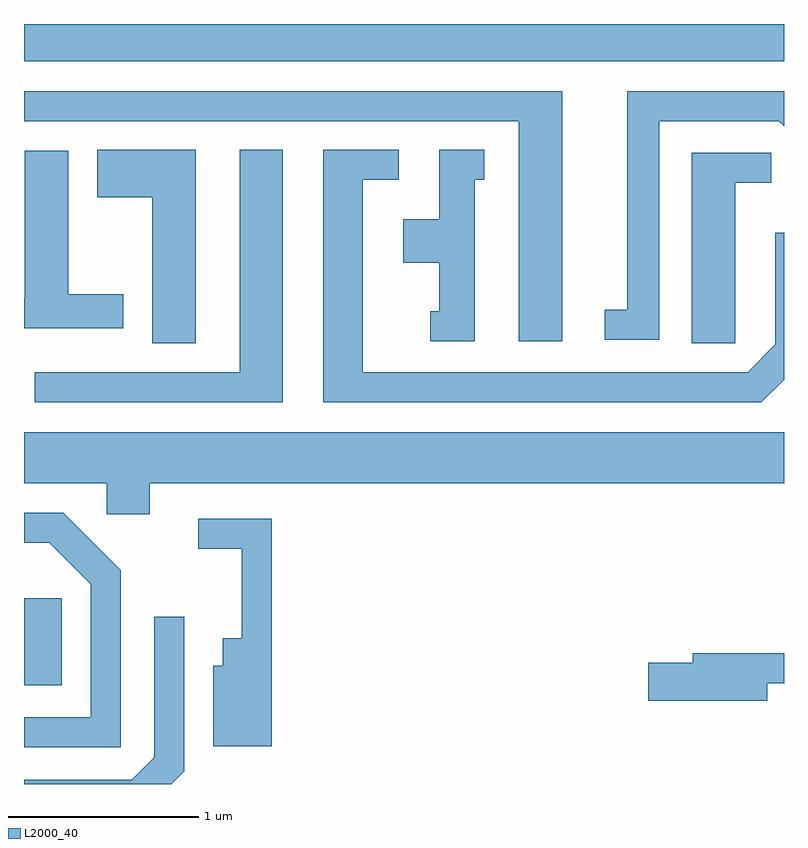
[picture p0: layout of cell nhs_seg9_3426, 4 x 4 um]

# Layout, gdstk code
import gdstk
lib = gdstk.Library(unit=1e-6, precision=1e-09)
def R(c, l, rs):  # rectangles x0, y0, x1, y1
    for r in rs: c.add(gdstk.rectangle(r[:2], r[2:], *l))
def P(c, l, *ps):  # polygons
    for p in ps: c.add(gdstk.Polygon(p, *l))
L2000_40 = (2000, 40)

nhs_seg9_3426 = lib.new_cell('nhs_seg9_3426')
R(nhs_seg9_3426, L2000_40, [(285.611,2012.951,285.809,2013.409), (285.611,2016.236,289.611,2016.432)])
P(nhs_seg9_3426, L2000_40, [(288.444,2016.079),(285.611,2016.079),(285.611,2015.921),(288.216,2015.921),(288.216,2014.761),(288.444,2014.761)],
  [(288.954,2015.921),(289.584,2015.921),(289.611,2015.894),(289.611,2016.079),(288.786,2016.079),(288.786,2014.929),(288.668,2014.929),(288.668,2014.771),(288.954,2014.771)],
  [(286.514,2015.769),(285.996,2015.769),(285.996,2015.521),(286.286,2015.521),(286.286,2014.751),(286.514,2014.751)],
  [(286.974,2015.769),(286.746,2015.769),(286.746,2014.599),(285.668,2014.599),(285.668,2014.441),(286.974,2014.441)],
  [(289.611,2014.56),(289.611,2015.333),(289.566,2015.333),(289.566,2014.747),(289.419,2014.599),(287.394,2014.599),(287.394,2015.611),(287.583,2015.611),(287.583,2015.769),(287.186,2015.769),(287.186,2014.441),(289.492,2014.441)],
  [(287.984,2015.611),(288.033,2015.611),(288.033,2015.769),(287.796,2015.769),(287.796,2015.404),(287.606,2015.404),(287.606,2015.176),(287.796,2015.176),(287.796,2014.919),(287.748,2014.919),(287.748,2014.761),(287.984,2014.761)],
  [(286.134,2015.009),(285.844,2015.009),(285.844,2015.764),(285.616,2015.764),(285.616,2014.989),(285.611,2014.989),(285.611,2014.831),(286.134,2014.831)],
  [(289.354,2015.596),(289.543,2015.596),(289.543,2015.754),(289.126,2015.754),(289.126,2014.751),(289.354,2014.751)],
  [(286.274,2014.016),(289.611,2014.016),(289.611,2014.284),(285.611,2014.284),(285.611,2014.016),(286.046,2014.016),(286.046,2013.851),(286.274,2013.851)],
  [(286.119,2013.557),(285.817,2013.859),(285.611,2013.859),(285.611,2013.701),(285.744,2013.701),(285.961,2013.484),(285.961,2012.784),(285.611,2012.784),(285.611,2012.626),(286.119,2012.626)],
  [(286.914,2013.829),(286.528,2013.829),(286.528,2013.671),(286.756,2013.671),(286.756,2013.199),(286.656,2013.199),(286.656,2013.054),(286.606,2013.054),(286.606,2012.631),(286.914,2012.631)],
  [(286.454,2012.499),(286.454,2013.313),(286.296,2013.313),(286.296,2012.572),(286.179,2012.454),(285.611,2012.454),(285.611,2012.432),(286.387,2012.432)],
  [(289.524,2012.961),(289.611,2012.961),(289.611,2013.119),(289.131,2013.119),(289.131,2013.069),(288.896,2013.069),(288.896,2012.871),(289.524,2012.871)])

lib.write_gds('nhs_seg9_3426.gds')
